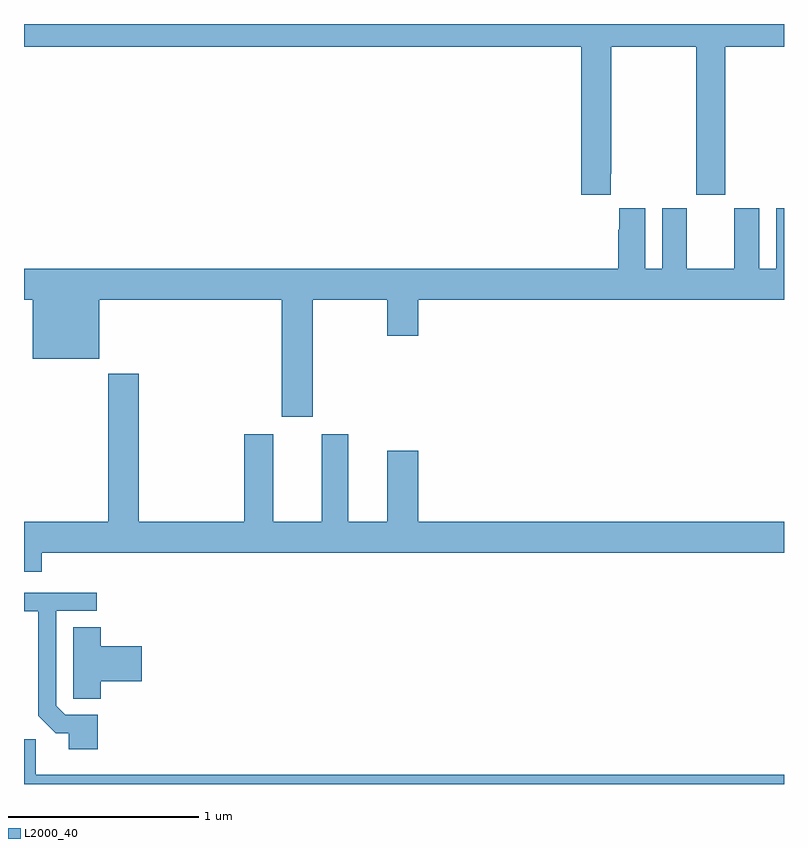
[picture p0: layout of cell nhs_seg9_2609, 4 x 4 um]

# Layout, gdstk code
import gdstk
lib = gdstk.Library(unit=1e-6, precision=1e-09)
def P(c, l, *ps):  # polygons
    for p in ps: c.add(gdstk.Polygon(p, *l))
L2000_40 = (2000, 40)

nhs_seg9_2609 = lib.new_cell('nhs_seg9_2609')
P(nhs_seg9_2609, L2000_40, [(262.087,1235.713),(262.092,1235.713),(262.092,1236.38),(262.537,1236.38),(262.537,1235.601),(262.692,1235.601),(262.692,1236.38),(263,1236.38),(263,1236.5),(259,1236.5),(259,1236.38),(261.932,1236.38),(261.932,1235.601),(262.087,1235.601)],
  [(260.521,1235.048),(260.912,1235.048),(260.912,1234.86),(261.076,1234.86),(261.076,1235.048),(263,1235.048),(263,1235.53),(262.958,1235.53),(262.958,1235.212),(262.87,1235.212),(262.87,1235.53),(262.739,1235.53),(262.739,1235.212),(262.489,1235.212),(262.489,1235.53),(262.358,1235.53),(262.358,1235.212),(262.27,1235.212),(262.27,1235.53),(262.133,1235.53),(262.133,1235.417),(262.127,1235.417),(262.127,1235.212),(259,1235.212),(259,1235.048),(259.046,1235.048),(259.046,1234.739),(259.396,1234.739),(259.396,1235.048),(260.357,1235.048),(260.357,1234.434),(260.521,1234.434)],
  [(259.094,1233.716),(263,1233.716),(263,1233.88),(261.076,1233.88),(261.076,1234.255),(260.912,1234.255),(260.912,1233.88),(260.707,1233.88),(260.707,1234.342),(260.567,1234.342),(260.567,1233.88),(260.311,1233.88),(260.311,1234.342),(260.159,1234.342),(260.159,1233.88),(259.604,1233.88),(259.604,1234.66),(259.444,1234.66),(259.444,1233.88),(259,1233.88),(259,1233.617),(259.094,1233.617)],
  [(259.388,1232.865),(259.218,1232.865),(259.17,1232.913),(259.17,1233.411),(259.384,1233.411),(259.384,1233.507),(259,1233.507),(259,1233.41),(259.074,1233.41),(259.074,1232.859),(259.167,1232.767),(259.235,1232.767),(259.235,1232.682),(259.388,1232.682)],
  [(259.403,1233.041),(259.621,1233.041),(259.621,1233.224),(259.403,1233.224),(259.403,1233.326),(259.259,1233.326),(259.259,1233.058),(259.26,1233.058),(259.26,1232.95),(259.403,1232.95)],
  [(263,1232.548),(259.062,1232.548),(259.062,1232.736),(259,1232.736),(259,1232.5),(263,1232.5)])

lib.write_gds('nhs_seg9_2609.gds')
